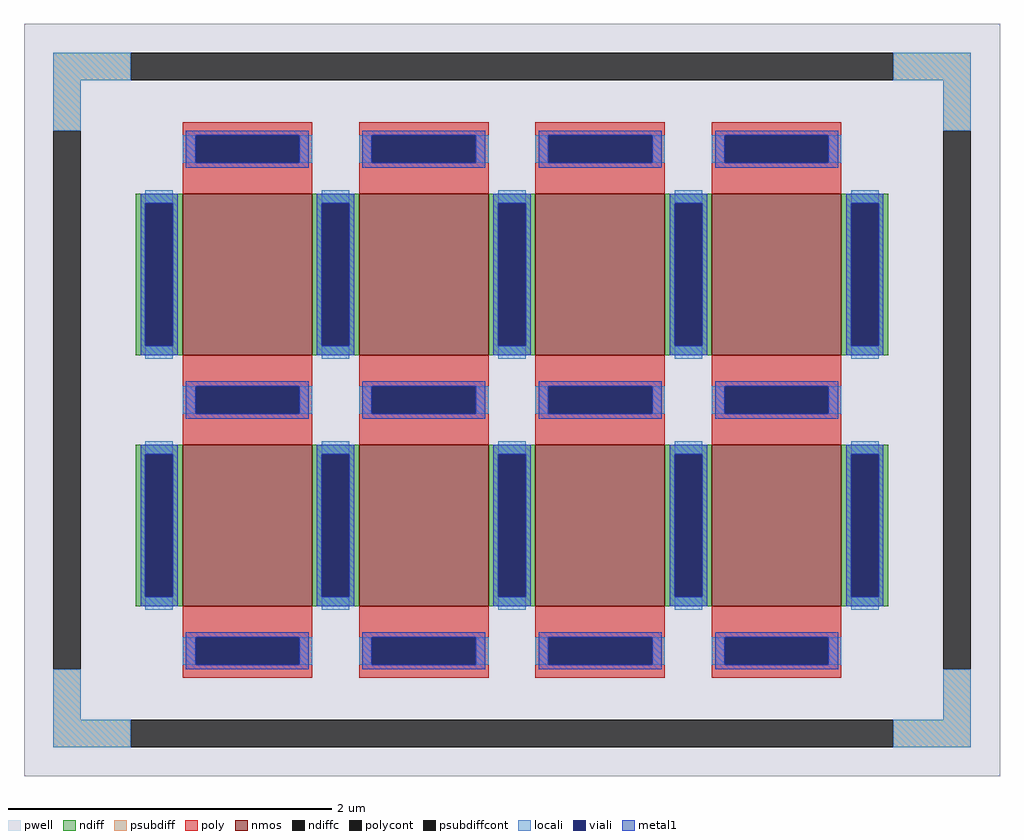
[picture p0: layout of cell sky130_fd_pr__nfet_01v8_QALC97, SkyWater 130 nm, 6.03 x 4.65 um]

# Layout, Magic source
magic
tech sky130A
magscale 1 2
<< pwell >>
rect -603 -465 603 465
<< nmos >>
rect -407 55 -247 255
rect -189 55 -29 255
rect 29 55 189 255
rect 247 55 407 255
rect -407 -255 -247 -55
rect -189 -255 -29 -55
rect 29 -255 189 -55
rect 247 -255 407 -55
<< ndiff >>
rect -465 243 -407 255
rect -465 67 -453 243
rect -419 67 -407 243
rect -465 55 -407 67
rect -247 243 -189 255
rect -247 67 -235 243
rect -201 67 -189 243
rect -247 55 -189 67
rect -29 243 29 255
rect -29 67 -17 243
rect 17 67 29 243
rect -29 55 29 67
rect 189 243 247 255
rect 189 67 201 243
rect 235 67 247 243
rect 189 55 247 67
rect 407 243 465 255
rect 407 67 419 243
rect 453 67 465 243
rect 407 55 465 67
rect -465 -67 -407 -55
rect -465 -243 -453 -67
rect -419 -243 -407 -67
rect -465 -255 -407 -243
rect -247 -67 -189 -55
rect -247 -243 -235 -67
rect -201 -243 -189 -67
rect -247 -255 -189 -243
rect -29 -67 29 -55
rect -29 -243 -17 -67
rect 17 -243 29 -67
rect -29 -255 29 -243
rect 189 -67 247 -55
rect 189 -243 201 -67
rect 235 -243 247 -67
rect 189 -255 247 -243
rect 407 -67 465 -55
rect 407 -243 419 -67
rect 453 -243 465 -67
rect 407 -255 465 -243
<< ndiffc >>
rect -453 67 -419 243
rect -235 67 -201 243
rect -17 67 17 243
rect 201 67 235 243
rect 419 67 453 243
rect -453 -243 -419 -67
rect -235 -243 -201 -67
rect -17 -243 17 -67
rect 201 -243 235 -67
rect 419 -243 453 -67
<< psubdiff >>
rect -567 395 -471 429
rect 471 395 567 429
rect -567 333 -533 395
rect 533 333 567 395
rect -567 -395 -533 -333
rect 533 -395 567 -333
rect -567 -429 -471 -395
rect 471 -429 567 -395
<< psubdiffcont >>
rect -471 395 471 429
rect -567 -333 -533 333
rect 533 -333 567 333
rect -471 -429 471 -395
<< poly >>
rect -407 327 -247 343
rect -407 293 -391 327
rect -263 293 -247 327
rect -407 255 -247 293
rect -189 327 -29 343
rect -189 293 -173 327
rect -45 293 -29 327
rect -189 255 -29 293
rect 29 327 189 343
rect 29 293 45 327
rect 173 293 189 327
rect 29 255 189 293
rect 247 327 407 343
rect 247 293 263 327
rect 391 293 407 327
rect 247 255 407 293
rect -407 17 -247 55
rect -407 -17 -391 17
rect -263 -17 -247 17
rect -407 -55 -247 -17
rect -189 17 -29 55
rect -189 -17 -173 17
rect -45 -17 -29 17
rect -189 -55 -29 -17
rect 29 17 189 55
rect 29 -17 45 17
rect 173 -17 189 17
rect 29 -55 189 -17
rect 247 17 407 55
rect 247 -17 263 17
rect 391 -17 407 17
rect 247 -55 407 -17
rect -407 -293 -247 -255
rect -407 -327 -391 -293
rect -263 -327 -247 -293
rect -407 -343 -247 -327
rect -189 -293 -29 -255
rect -189 -327 -173 -293
rect -45 -327 -29 -293
rect -189 -343 -29 -327
rect 29 -293 189 -255
rect 29 -327 45 -293
rect 173 -327 189 -293
rect 29 -343 189 -327
rect 247 -293 407 -255
rect 247 -327 263 -293
rect 391 -327 407 -293
rect 247 -343 407 -327
<< polycont >>
rect -391 293 -263 327
rect -173 293 -45 327
rect 45 293 173 327
rect 263 293 391 327
rect -391 -17 -263 17
rect -173 -17 -45 17
rect 45 -17 173 17
rect 263 -17 391 17
rect -391 -327 -263 -293
rect -173 -327 -45 -293
rect 45 -327 173 -293
rect 263 -327 391 -293
<< locali >>
rect -567 395 -471 429
rect 471 395 567 429
rect -567 333 -533 395
rect 533 333 567 395
rect -407 293 -391 327
rect -263 293 -247 327
rect -189 293 -173 327
rect -45 293 -29 327
rect 29 293 45 327
rect 173 293 189 327
rect 247 293 263 327
rect 391 293 407 327
rect -453 243 -419 259
rect -453 51 -419 67
rect -235 243 -201 259
rect -235 51 -201 67
rect -17 243 17 259
rect -17 51 17 67
rect 201 243 235 259
rect 201 51 235 67
rect 419 243 453 259
rect 419 51 453 67
rect -407 -17 -391 17
rect -263 -17 -247 17
rect -189 -17 -173 17
rect -45 -17 -29 17
rect 29 -17 45 17
rect 173 -17 189 17
rect 247 -17 263 17
rect 391 -17 407 17
rect -453 -67 -419 -51
rect -453 -259 -419 -243
rect -235 -67 -201 -51
rect -235 -259 -201 -243
rect -17 -67 17 -51
rect -17 -259 17 -243
rect 201 -67 235 -51
rect 201 -259 235 -243
rect 419 -67 453 -51
rect 419 -259 453 -243
rect -407 -327 -391 -293
rect -263 -327 -247 -293
rect -189 -327 -173 -293
rect -45 -327 -29 -293
rect 29 -327 45 -293
rect 173 -327 189 -293
rect 247 -327 263 -293
rect 391 -327 407 -293
rect -567 -395 -533 -333
rect 533 -395 567 -333
rect -567 -429 -471 -395
rect 471 -429 567 -395
<< viali >>
rect -391 293 -263 327
rect -173 293 -45 327
rect 45 293 173 327
rect 263 293 391 327
rect -453 67 -419 243
rect -235 67 -201 243
rect -17 67 17 243
rect 201 67 235 243
rect 419 67 453 243
rect -391 -17 -263 17
rect -173 -17 -45 17
rect 45 -17 173 17
rect 263 -17 391 17
rect -453 -243 -419 -67
rect -235 -243 -201 -67
rect -17 -243 17 -67
rect 201 -243 235 -67
rect 419 -243 453 -67
rect -391 -327 -263 -293
rect -173 -327 -45 -293
rect 45 -327 173 -293
rect 263 -327 391 -293
<< metal1 >>
rect -403 327 -251 333
rect -403 293 -391 327
rect -263 293 -251 327
rect -403 287 -251 293
rect -185 327 -33 333
rect -185 293 -173 327
rect -45 293 -33 327
rect -185 287 -33 293
rect 33 327 185 333
rect 33 293 45 327
rect 173 293 185 327
rect 33 287 185 293
rect 251 327 403 333
rect 251 293 263 327
rect 391 293 403 327
rect 251 287 403 293
rect -459 243 -413 255
rect -459 67 -453 243
rect -419 67 -413 243
rect -459 55 -413 67
rect -241 243 -195 255
rect -241 67 -235 243
rect -201 67 -195 243
rect -241 55 -195 67
rect -23 243 23 255
rect -23 67 -17 243
rect 17 67 23 243
rect -23 55 23 67
rect 195 243 241 255
rect 195 67 201 243
rect 235 67 241 243
rect 195 55 241 67
rect 413 243 459 255
rect 413 67 419 243
rect 453 67 459 243
rect 413 55 459 67
rect -403 17 -251 23
rect -403 -17 -391 17
rect -263 -17 -251 17
rect -403 -23 -251 -17
rect -185 17 -33 23
rect -185 -17 -173 17
rect -45 -17 -33 17
rect -185 -23 -33 -17
rect 33 17 185 23
rect 33 -17 45 17
rect 173 -17 185 17
rect 33 -23 185 -17
rect 251 17 403 23
rect 251 -17 263 17
rect 391 -17 403 17
rect 251 -23 403 -17
rect -459 -67 -413 -55
rect -459 -243 -453 -67
rect -419 -243 -413 -67
rect -459 -255 -413 -243
rect -241 -67 -195 -55
rect -241 -243 -235 -67
rect -201 -243 -195 -67
rect -241 -255 -195 -243
rect -23 -67 23 -55
rect -23 -243 -17 -67
rect 17 -243 23 -67
rect -23 -255 23 -243
rect 195 -67 241 -55
rect 195 -243 201 -67
rect 235 -243 241 -67
rect 195 -255 241 -243
rect 413 -67 459 -55
rect 413 -243 419 -67
rect 453 -243 459 -67
rect 413 -255 459 -243
rect -403 -293 -251 -287
rect -403 -327 -391 -293
rect -263 -327 -251 -293
rect -403 -333 -251 -327
rect -185 -293 -33 -287
rect -185 -327 -173 -293
rect -45 -327 -33 -293
rect -185 -333 -33 -327
rect 33 -293 185 -287
rect 33 -327 45 -293
rect 173 -327 185 -293
rect 33 -333 185 -327
rect 251 -293 403 -287
rect 251 -327 263 -293
rect 391 -327 403 -293
rect 251 -333 403 -327
<< properties >>
string FIXED_BBOX -550 -412 550 412
string gencell sky130_fd_pr__nfet_01v8
string library sky130
string parameters w 1 l 0.8 m 2 nf 4 diffcov 100 polycov 100 guard 1 glc 1 grc 1 gtc 1 gbc 1 tbcov 100 rlcov 100 topc 1 botc 1 poverlap 1 doverlap 1 lmin 0.15 wmin 0.42 compatible {sky130_fd_pr__nfet_01v8 sky130_fd_pr__nfet_01v8_lvt  sky130_fd_bs_flash__special_sonosfet_star  sky130_fd_pr__nfet_g5v0d10v5 sky130_fd_pr__nfet_05v0_nvt  sky130_fd_pr__nfet_03v3_nvt} full_metal 1 viasrc 100 viadrn 100 viagate 100 viagb 0 viagr 0 viagl 0 viagt 0
<< end >>
